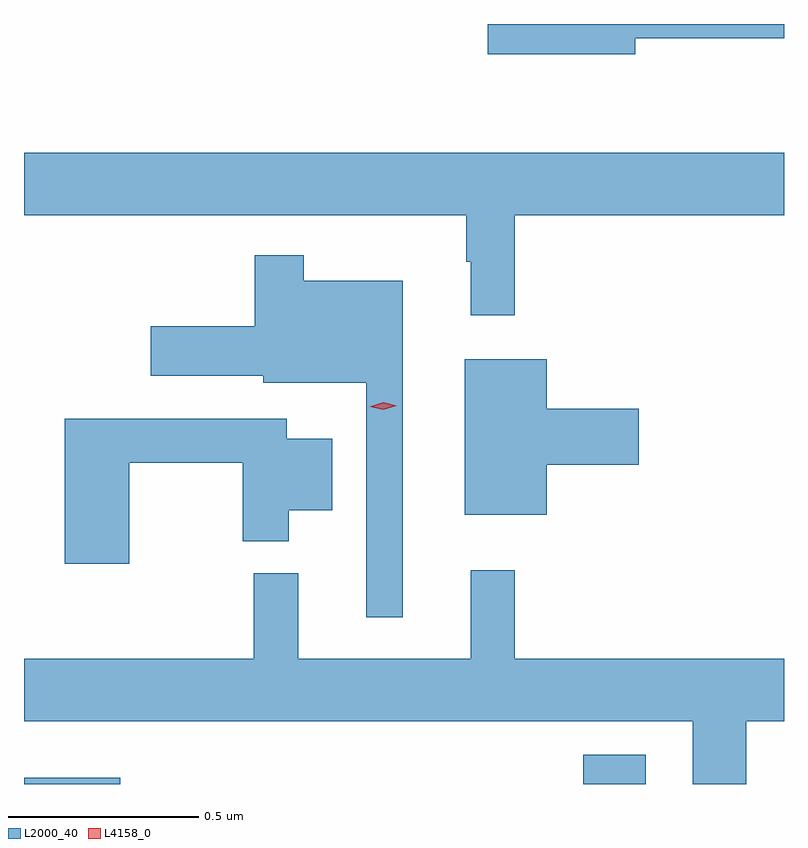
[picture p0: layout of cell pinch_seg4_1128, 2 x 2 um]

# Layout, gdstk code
import gdstk
lib = gdstk.Library(unit=1e-6, precision=1e-09)
def R(c, l, rs):  # rectangles x0, y0, x1, y1
    for r in rs: c.add(gdstk.rectangle(r[:2], r[2:], *l))
def P(c, l, *ps):  # polygons
    for p in ps: c.add(gdstk.Polygon(p, *l))
L2000_40 = (2000, 40)
L4158_0 = (4158, 0)

pinch_seg4_1128 = lib.new_cell('pinch_seg4_1128')
R(pinch_seg4_1128, L2000_40, [(417.195,803.315,417.448,803.332), (418.667,803.315,418.831,803.392)])
P(pinch_seg4_1128, L2000_40, [(418.804,805.278),(419.195,805.278),(419.195,805.315),(418.416,805.315),(418.416,805.235),(418.804,805.235)],
  [(418.487,804.812),(419.195,804.812),(419.195,804.976),(417.195,804.976),(417.195,804.812),(418.359,804.812),(418.359,804.689),(418.37,804.689),(418.37,804.549),(418.487,804.549)],
  [(418.192,804.64),(417.931,804.64),(417.931,804.706),(417.802,804.706),(417.802,804.519),(417.528,804.519),(417.528,804.389),(417.825,804.389),(417.825,804.371),(418.095,804.371),(418.095,803.754),(418.192,803.754)],
  [(418.57,804.155),(418.813,804.155),(418.813,804.302),(418.57,804.302),(418.57,804.433),(418.355,804.433),(418.355,804.023),(418.57,804.023)],
  [(417.472,804.16),(417.77,804.16),(417.77,803.954),(417.892,803.954),(417.892,804.035),(418.006,804.035),(418.006,804.223),(417.886,804.223),(417.886,804.276),(417.302,804.276),(417.302,803.895),(417.472,803.895)],
  [(418.955,803.315),(419.095,803.315),(419.095,803.48),(419.195,803.48),(419.195,803.644),(418.487,803.644),(418.487,803.878),(418.37,803.878),(418.37,803.644),(417.917,803.644),(417.917,803.869),(417.799,803.869),(417.799,803.644),(417.195,803.644),(417.195,803.48),(418.955,803.48)])
P(pinch_seg4_1128, L4158_0, [(418.141,804.3),(418.105,804.308),(418.105,804.308),(418.105,804.308),(418.14,804.32),(418.176,804.311),(418.176,804.311),(418.176,804.311)])

lib.write_gds('pinch_seg4_1128.gds')
